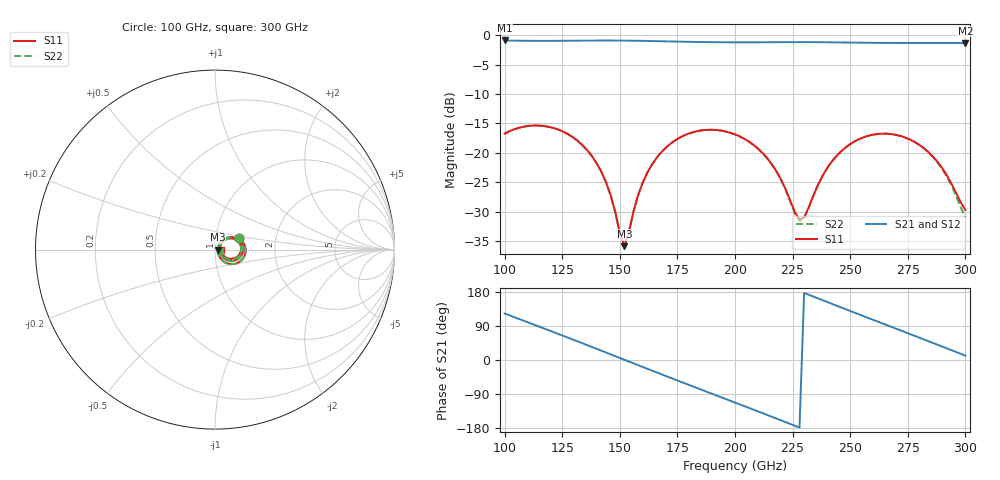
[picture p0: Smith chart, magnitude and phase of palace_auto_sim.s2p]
#  GHZ S DB R 50
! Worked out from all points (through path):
!   101 points, 100 GHz to 300 GHz, reference 50 ohm
!   highest |S21| = -0.90 dB at 100 GHz (marker M1); lowest = -1.3 dB at 300 GHz (marker M2)
!   group delay of S21, straight-line fit = 6.55 ps
!   lowest |S11| = -35.9 dB at 152 GHz (marker M3), VSWR 1.03, Z = 51.6 - j0.0293 ohm
!   |S11| at or under -10 dB: start of sweep to end of sweep
!   |S22| runs from -35.8 to -15.3 dB; largest |S21 - S12| = 1e-13
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100  -16.74 25.9  -0.90 122.8  -0.90 122.8  -16.73 25.5
116  -15.40 -7.4  -0.98 85.7  -0.98 85.7  -15.39 -7.8
124  -16.16 -24.1  -0.97 67.1  -0.97 67.1  -16.15 -24.6
134  -18.78 -44.1  -0.93 43.6  -0.93 43.6  -18.77 -44.6
144  -24.97 -58.1  -0.92 19.8  -0.92 19.8  -24.96 -58.5
152  -35.85 -1.0  -0.93 0.6  -0.93 0.6  -35.76 -1.8
160  -25.01 52.7  -0.97 -18.5  -0.97 -18.5  -25.00 51.9
168  -19.90 42.6  -1.04 -37.5  -1.04 -37.5  -19.90 41.8
184  -16.28 12.1  -1.16 -75.1  -1.16 -75.1  -16.28 11.2
200  -16.86 -18.6  -1.22 -112.4  -1.22 -112.4  -16.88 -19.6
216  -21.93 -42.8  -1.20 -149.8  -1.20 -149.8  -21.98 -44.1
228  -31.35 -5.7  -1.19 -178.3  -1.19 -178.3  -31.60 -6.5
230  -30.96 16.1  -1.19 177.0  -1.19 177.0  -31.15 16.0
234  -27.27 40.3  -1.19 167.4  -1.19 167.4  -27.32 40.2
240  -22.60 44.2  -1.21 153.1  -1.21 153.1  -22.61 43.6
248  -19.08 34.2  -1.25 134.1  -1.25 134.1  -19.08 33.2
258  -17.08 16.2  -1.30 110.6  -1.30 110.6  -17.08 14.9
268  -16.82 -2.9  -1.33 87.1  -1.33 87.1  -16.83 -4.6
276  -17.74 -17.6  -1.34 68.4  -1.34 68.4  -17.76 -19.7
286  -20.66 -32.7  -1.33 44.8  -1.33 44.8  -20.74 -35.9
292  -23.85 -35.9  -1.34 30.6  -1.34 30.6  -24.07 -40.4
300  -29.70 -8.6  -1.35 11.6  -1.35 11.6  -30.94 -13.0
